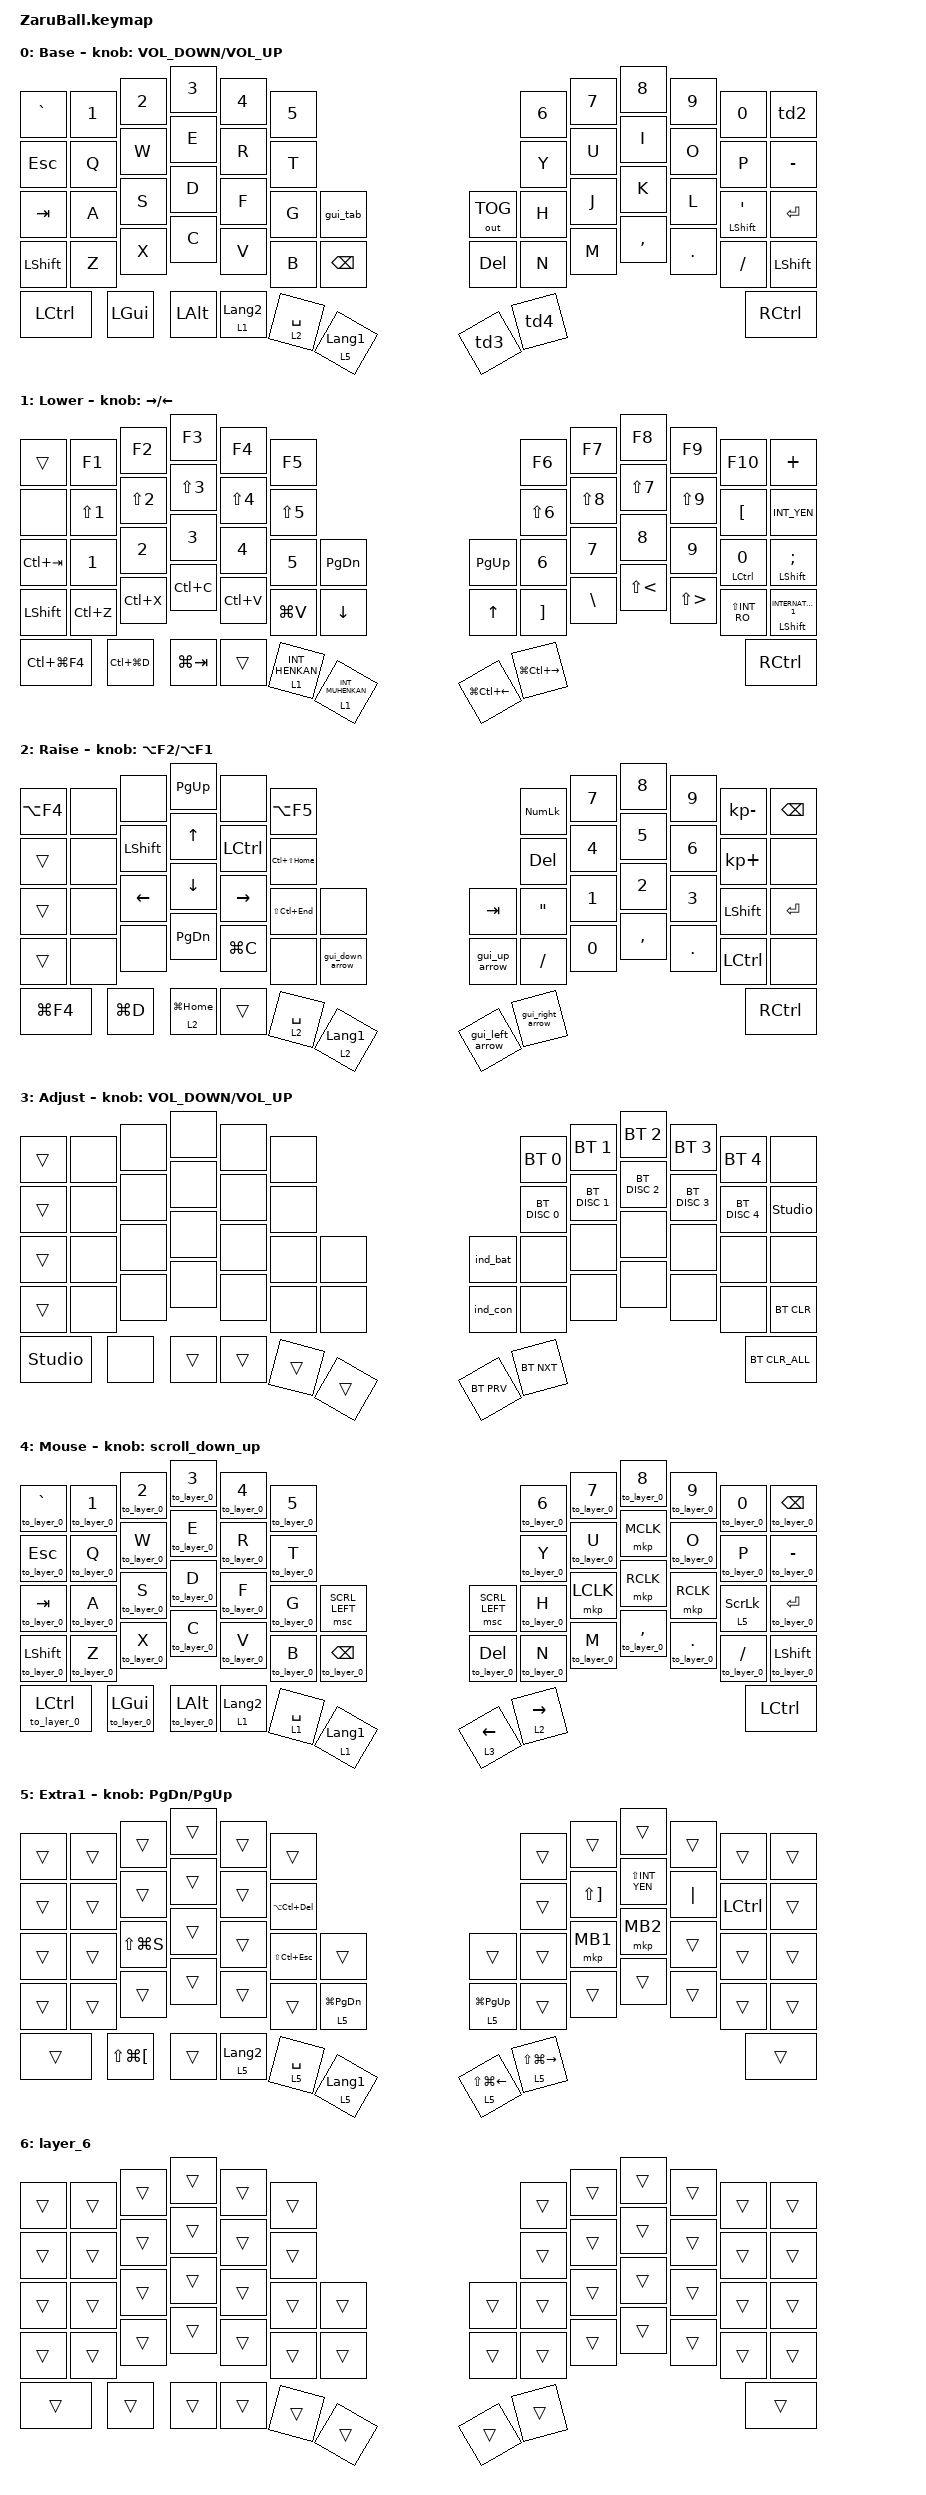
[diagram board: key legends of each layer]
//#include <dt-bindings/zmk/mouse.h>

#include <behaviors/rgbled_widget.dtsi>
#include <behaviors.dtsi>
#include <dt-bindings/zmk/bt.h>
#include <dt-bindings/zmk/keys.h>
#include <dt-bindings/zmk/outputs.h>
#include <dt-bindings/zmk/pointing.h>

#define BASE 0
#define LOWER 1
#define RAISE 2
#define ADJUST 3
#define MOUSE 4
#define SCROLL 5
#define Extra1 5

// スクロール量の設定

#define ZMK_POINTING_DEFAULT_SCRL_VAL 100

/* {
    conditional_layers {
        compatible = "zmk,conditional-layers";

        tri_layer {
            if-layers = <1 2>;
            then-layer = <3>;
        };
    };
}; */

/ {
    behaviors {
        // スクロール用のbehaviorの設定

        scroll_down_up: behavior_sensor_rotate_mouse_wheel_down_up {
            compatible = "zmk,behavior-sensor-rotate";
            #sensor-binding-cells = <0>;
            bindings = <&msc SCRL_DOWN>, <&msc SCRL_UP>;

            tap-ms = <20>; // スクロールのタップ時間
        };

        td0: tap_dance_0 {
            compatible = "zmk,behavior-tap-dance";
            #binding-cells = <0>;
            tapping-term-ms = <200>;
            bindings = <&mt LALT LANG2>, <&mo RAISE>, <&mo MOUSE>;
        };

        td1: tap_dance_1 {
            compatible = "zmk,behavior-tap-dance";
            #binding-cells = <0>;
            tapping-term-ms = <200>;
            bindings = <&mt RCTL LANG1>, <&mo RAISE>, <&mo 5>;
        };

        td2: bs_layer3_bs {
            compatible = "zmk,behavior-tap-dance";
            label = "bs_layer3_bs";
            #binding-cells = <0>;
            bindings = <&lt 3 BACKSPACE>, <&kp BACKSPACE>;
        };

        td3: left_layer1_left {
            compatible = "zmk,behavior-tap-dance";
            label = "left_layer1_left";
            #binding-cells = <0>;
            bindings = <&lt 1 LEFT>, <&kp LEFT>;
        };

        td4: right_layer2_right {
            compatible = "zmk,behavior-tap-dance";
            label = "right_layer2_right";
            #binding-cells = <0>;
            bindings = <&lt 2 RIGHT>, <&kp RIGHT>;
        };

        td5: zero_ctrl_zero {
            compatible = "zmk,behavior-tap-dance";
            label = "Tzero_ctrl_zero";
            #binding-cells = <0>;
            bindings = <&mt LEFT_CONTROL KP_NUMBER_0>, <&kt KP_NUMBER_0>;
        };
    };
};

&sl { release-after-ms = <250>; }; // time needed for double click (for mkp_exit_AML)
/ {
    macros {
        // When in AML, move to default layer when key (except mouse button) pressed

        to_layer_0: to_layer_0 {
            compatible = "zmk,behavior-macro-one-param";
            #binding-cells = <1>;
            bindings = <&to BASE &macro_param_1to1 &kp MACRO_PLACEHOLDER>;
            label = "TO_layer_0";
        };

        // When LCLK pressed, exit AML (after 250ms cause by sticky layer)

        mkp_exit_AML: mkp_exit_AML {
            compatible = "zmk,behavior-macro-one-param";
            #binding-cells = <1>;
            bindings =
                <&macro_press>,
                <&macro_param_1to1 &mkp MACRO_PLACEHOLDER>,
                <&macro_pause_for_release>,
                <&macro_release>,
                <&macro_param_1to1 &mkp MACRO_PLACEHOLDER>,
                <&macro_tap>,
                <&sl MOUSE>;

            label = "MKP_EXIT_AML";
        };

        // Support swapping into Scroll layer when AML is activated

        to_scroll_layer: to_scroll_layer {
            compatible = "zmk,behavior-macro";
            #binding-cells = <0>;
            bindings =
                <&to SCROLL>,
                <&macro_press>,
                <&mo SCROLL>,
                <&macro_pause_for_release>,
                <&macro_release>,
                <&mo SCROLL>;
        };

        gui_down_arrow: gui_down_arrow {
            compatible = "zmk,behavior-macro";
            #binding-cells = <0>;
            bindings = <&kt LEFT_GUI &kp DOWN &kt LEFT_GUI>;
            label = "GUI_DOWN_ARROW";
            wait-ms = <100>;
        };

        gui_up_arrow: gui_up_arrow {
            compatible = "zmk,behavior-macro";
            #binding-cells = <0>;
            bindings = <&kt LEFT_GUI &kp UP_ARROW &kt LEFT_GUI>;
            label = "GUI_UP_ARROW";
            wait-ms = <100>;
        };

        gui_left_arrow: gui_left_arrow {
            compatible = "zmk,behavior-macro";
            #binding-cells = <0>;
            bindings = <&kt LEFT_GUI &kp LEFT &kt LEFT_GUI>;
            label = "GUI_LEFT_ARROW";
            wait-ms = <100>;
        };

        gui_right_arrow: gui_right_arrow {
            compatible = "zmk,behavior-macro";
            #binding-cells = <0>;
            bindings = <&kt LEFT_GUI &kp RIGHT &kt LEFT_GUI>;
            label = "GUI_RIGHT_ARROW";
        };

        gui_tab: gui_tab {
            compatible = "zmk,behavior-macro";
            #binding-cells = <0>;
            bindings = <&kt LEFT_GUI &kp TAB &kt LEFT_GUI>;
            label = "GUI_TAB";
            wait-ms = <100>;
        };
    };
};

/ {
    keymap {
        compatible = "zmk,keymap";

        base_layer {
            display-name = "Base";
            sensor-bindings = <&inc_dec_kp C_VOLUME_DOWN C_VOLUME_UP>;
            bindings = <
&kp GRAVE         &kp NUMBER_1  &kp NUMBER_2  &kp NUMBER_3  &kp NUMBER_4      &kp N5                         &kp NUMBER_6  &kp N7  &kp N8  &kp N9     &kp N0   &td2
&kp ESCAPE        &kp Q         &kp W         &kp E         &kp R             &kp T                          &kp Y         &kp U   &kp I   &kp O      &kp P    &kp MINUS
&kp TAB           &kp A         &kp S         &kp D         &kp F             &kp G        &gui_tab          &out OUT_TOG  &kp H   &kp J   &kp K      &kp L    &mt LEFT_SHIFT APOS  &kp ENTER
&kp LSHFT         &kp Z         &kp X         &kp C         &kp V             &kp B        &kp BACKSPACE     &kp DELETE    &kp N   &kp M   &kp COMMA  &kp DOT  &kp FSLH             &kp LEFT_SHIFT
&kp LEFT_CONTROL                &kp LEFT_GUI  &kp LEFT_ALT  &lt 1 LANGUAGE_2  &lt 2 SPACE  &lt 5 LANGUAGE_1  &td3          &td4                                &kp RIGHT_CONTROL
            >;
        };

        lower_layer {
            display-name = "Lower";
            sensor-bindings = <&inc_dec_kp RIGHT LEFT>;
            bindings = <
&trans          &kp F1            &kp F2            &kp F3            &kp F4            &kp F5                                &kp F6            &kp F7             &kp F8         &kp F9             &kp F10               &kp PLUS
&none           &kp LS(NUMBER_1)  &kp LS(NUMBER_2)  &kp LS(NUMBER_3)  &kp LS(NUMBER_4)  &kp LS(N5)                            &kp LS(NUMBER_6)  &kp LS(N8)         &kp LS(N7)     &kp LS(N9)         &kp LEFT_BRACKET      &kp INT_YEN
&kp LC(TAB)     &kp NUMBER_1      &kp NUMBER_2      &kp NUMBER_3      &kp NUMBER_4      &kp N5            &kp PAGE_DOWN       &kp PAGE_UP       &kp NUMBER_6       &kp N7         &kp N8             &kp N9                &mt LEFT_CONTROL N0  &mt LEFT_SHIFT SEMI
&kp LEFT_SHIFT  &kp LC(Z)         &kp LC(X)         &kp LC(C)         &kp LC(V)         &kp LG(V)         &kp DOWN            &kp UP_ARROW      &kp RIGHT_BRACKET  &kp BACKSLASH  &kp LS(LESS_THAN)  &kp LS(GREATER_THAN)  &kp LS(INT_RO)       &mt LEFT_SHIFT INTERNATIONAL_1
&kp LC(LG(F4))                    &kp LC(LG(D))     &kp LG(TAB)       &trans            &lt 1 INT_HENKAN  &lt 1 INT_MUHENKAN  &kp LG(LC(LEFT))  &kp LG(LC(RIGHT))                                                          &kp RIGHT_CONTROL
            >;
        };

        raise_layer {
            display-name = "Raise";
            sensor-bindings = <&inc_dec_kp LA(F2) LA(F1)>;
            bindings = <
&kp LA(F4)  &none  &none           &kp PAGE_UP     &none             &kp LA(F5)                          &kp KP_NUMLOCK   &kp N7             &kp N8        &kp N9        &kp KP_MINUS  &kp BACKSPACE
&trans      &none  &kp LEFT_SHIFT  &kp UP_ARROW    &kp LEFT_CONTROL  &kp LC(LS(HOME))                    &kp DELETE       &kp NUMBER_4       &kp N5        &kp NUMBER_6  &kp KP_PLUS   &none
&trans      &none  &kp LEFT_ARROW  &kp DOWN_ARROW  &kp RIGHT_ARROW   &kp LS(LC(END))   &none             &kp TAB          &kp DOUBLE_QUOTES  &kp NUMBER_1  &kp NUMBER_2  &kp NUMBER_3  &kp LEFT_SHIFT    &kp ENTER
&trans      &none  &none           &kp PAGE_DOWN   &kp LG(C)         &none             &gui_down_arrow   &gui_up_arrow    &kp SLASH          &kp NUMBER_0  &kp COMMA     &kp DOT       &kp LEFT_CONTROL  &none
&kp LG(F4)         &kp LG(D)       &lt 2 LG(HOME)  &trans            &lt 2 SPACE       &lt 2 LANGUAGE_1  &gui_left_arrow  &gui_right_arrow                                             &kp RCTRL
            >;
        };

        adjust_layer {
            display-name = "Adjust";
            sensor-bindings = <&inc_dec_kp C_VOLUME_DOWN C_VOLUME_UP>;
            bindings = <
&trans          &none  &none  &none   &none   &none           &bt BT_SEL 0   &bt BT_SEL 1   &bt BT_SEL 2   &bt BT_SEL 3   &bt BT_SEL 4   &none
&trans          &none  &none  &none   &none   &none           &bt BT_DISC 0  &bt BT_DISC 1  &bt BT_DISC 2  &bt BT_DISC 3  &bt BT_DISC 4  &studio_unlock
&trans          &none  &none  &none   &none   &none   &none   &ind_bat       &none          &none          &none          &none          &none           &none
&trans          &none  &none  &none   &none   &none   &none   &ind_con       &none          &none          &none          &none          &none           &bt BT_CLR
&studio_unlock         &none  &trans  &trans  &trans  &trans  &bt BT_PRV     &bt BT_NXT                                                  &bt BT_CLR_ALL
            >;
        };

        mouse_layer {
            display-name = "Mouse";
            sensor-bindings = <&scroll_down_up>;
            bindings = <
&to_layer_0 GRAVE         &to_layer_0 N1  &to_layer_0 N2        &to_layer_0 N3        &to_layer_0 N4    &to_layer_0 N5                         &to_layer_0 N6      &to_layer_0 N7  &to_layer_0 N8  &to_layer_0 N9     &to_layer_0 N0      &to_layer_0 BACKSPACE
&to_layer_0 ESCAPE        &to_layer_0 Q   &to_layer_0 W         &to_layer_0 E         &to_layer_0 R     &to_layer_0 T                          &to_layer_0 Y       &to_layer_0 U   &mkp MCLK       &to_layer_0 O      &to_layer_0 P       &to_layer_0 MINUS
&to_layer_0 TAB           &to_layer_0 A   &to_layer_0 S         &to_layer_0 D         &to_layer_0 F     &to_layer_0 G   &msc SCRL_LEFT         &msc SCRL_LEFT      &to_layer_0 H   &mkp LCLK       &mkp RCLK          &mkp RCLK           &lt 5 SCROLLLOCK       &to_layer_0 ENTER
&to_layer_0 LSHIFT        &to_layer_0 Z   &to_layer_0 X         &to_layer_0 C         &to_layer_0 V     &to_layer_0 B   &to_layer_0 BACKSPACE  &to_layer_0 DELETE  &to_layer_0 N   &to_layer_0 M   &to_layer_0 COMMA  &to_layer_0 PERIOD  &to_layer_0 SLASH      &to_layer_0 LEFT_SHIFT
&to_layer_0 LEFT_CONTROL                  &to_layer_0 LEFT_GUI  &to_layer_0 LEFT_ALT  &lt 1 LANGUAGE_2  &lt 1 SPACE     &lt 1 LANGUAGE_1       &lt 3 LEFT          &lt 2 RIGHT                                                            &kp LEFT_CONTROL
            >;
        };

        // Extra layer can be added in ZMK STUDIO

        Extra1 {
            label = "Extra1";
            sensor-bindings = <&inc_dec_kp PAGE_DOWN PAGE_UP>;
            bindings = <
&trans  &trans  &trans                    &trans  &trans            &trans                                   &trans              &trans                 &trans           &trans    &trans     &trans
&trans  &trans  &trans                    &trans  &trans            &kp LA(LC(DELETE))                       &trans              &kp LS(RIGHT_BRACKET)  &kp LS(INT_YEN)  &kp PIPE  &kp LCTRL  &trans
&trans  &trans  &kp LS(LG(S))             &trans  &trans            &kp LS(LC(ESCAPE))  &trans               &trans              &trans                 &mkp MB1         &mkp MB2  &trans     &trans  &trans
&trans  &trans  &trans                    &trans  &trans            &trans              &lt 5 LG(PAGE_DOWN)  &lt 5 LG(PAGE_UP)   &trans                 &trans           &trans    &trans     &trans  &trans
&trans          &kp LS(LG(LEFT_BRACKET))  &trans  &lt 5 LANGUAGE_2  &lt 5 SPACE         &lt 5 LANGUAGE_1     &lt 5 LS(LG(LEFT))  &lt 5 LS(LG(RIGHT))                                          &trans
            >;
        };

        layer_6 {
            bindings = <
&trans  &trans  &trans  &trans  &trans  &trans          &trans  &trans  &trans  &trans  &trans  &trans
&trans  &trans  &trans  &trans  &trans  &trans          &trans  &trans  &trans  &trans  &trans  &trans
&trans  &trans  &trans  &trans  &trans  &trans  &trans  &trans  &trans  &trans  &trans  &trans  &trans  &trans
&trans  &trans  &trans  &trans  &trans  &trans  &trans  &trans  &trans  &trans  &trans  &trans  &trans  &trans
&trans          &trans  &trans  &trans  &trans  &trans  &trans  &trans                          &trans
            >;
        };
    };
};
